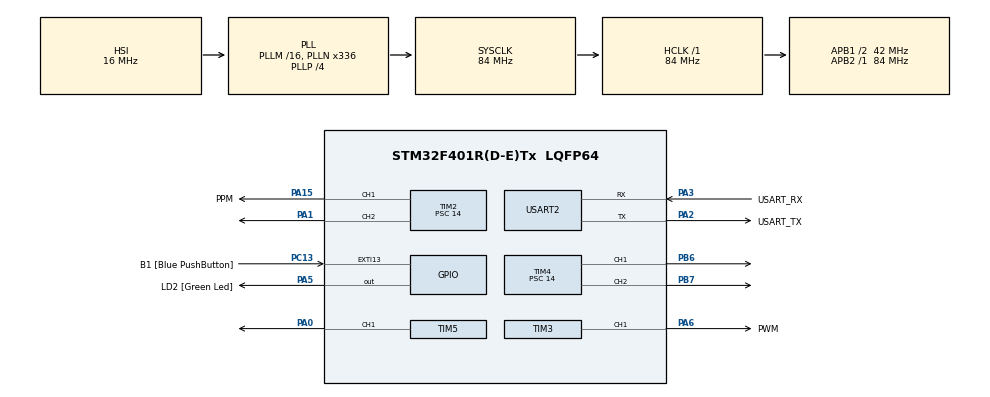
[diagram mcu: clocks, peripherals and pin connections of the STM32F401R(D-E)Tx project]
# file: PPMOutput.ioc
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Mcu.Family=STM32F4
Mcu.Name=STM32F401R(D-E)Tx
Mcu.Package=LQFP64
NVIC.PriorityGroup=NVIC_PRIORITYGROUP_0
PA0-WKUP.Signal=S_TIM5_CH1
PA1.Signal=S_TIM2_CH2
PA13.GPIO_Label=TMS
PA13.Mode=Serial_Wire
PA13.Signal=SYS_JTMS-SWDIO
PA14.GPIO_Label=TCK
PA14.Mode=Serial_Wire
PA14.Signal=SYS_JTCK-SWCLK
PA15.GPIO_Label=PPM
PA15.Signal=S_TIM2_CH1_ETR
PA2.GPIO_Label=USART_TX
PA2.GPIO_Mode=GPIO_MODE_AF_PP
PA2.GPIO_PuPd=GPIO_NOPULL
PA2.GPIO_Speed=GPIO_SPEED_FREQ_LOW
PA2.Mode=Asynchronous
PA2.Signal=USART2_TX
PA3.GPIO_Label=USART_RX
PA3.GPIO_Mode=GPIO_MODE_AF_PP
PA3.GPIO_PuPd=GPIO_NOPULL
PA3.GPIO_Speed=GPIO_SPEED_FREQ_LOW
PA3.Mode=Asynchronous
PA3.Signal=USART2_RX
PA5.GPIO_Label=LD2 [Green Led]
PA5.GPIO_Mode=GPIO_MODE_OUTPUT_PP
PA5.GPIO_PuPd=GPIO_NOPULL
PA5.GPIO_Speed=GPIO_SPEED_FREQ_LOW
PA5.Signal=GPIO_Output
PA6.GPIO_Label=PWM
PA6.Signal=S_TIM3_CH1
PB3.GPIO_Label=SWO
PB3.Signal=SYS_JTDO-SWO
PB6.Signal=S_TIM4_CH1
PB7.Signal=S_TIM4_CH2
PC13-ANTI_TAMP.GPIO_Label=B1 [Blue PushButton]
PC13-ANTI_TAMP.GPIO_ModeDefaultEXTI=GPIO_MODE_IT_FALLING
PC13-ANTI_TAMP.GPIO_PuPd=GPIO_NOPULL
PC13-ANTI_TAMP.Signal=GPXTI13
PC14-OSC32_IN.Mode=LSE-External-Oscillator
PC14-OSC32_IN.Signal=RCC_OSC32_IN
PC15-OSC32_OUT.Mode=LSE-External-Oscillator
PC15-OSC32_OUT.Signal=RCC_OSC32_OUT
PH0\ -\ OSC_IN.Mode=HSE-External-Clock-Source
PH0\ -\ OSC_IN.Signal=RCC_OSC_IN
PH1\ -\ OSC_OUT.Mode=HSE-External-Clock-Source
PH1\ -\ OSC_OUT.Signal=RCC_OSC_OUT
ProjectManager.HeapSize=0x200
ProjectManager.StackSize=0x400
ProjectManager.TargetToolchain=STM32CubeIDE
RCC.48MHZClocksFreq_Value=48000000
RCC.AHBFreq_Value=84000000
RCC.APB1CLKDivider=RCC_HCLK_DIV2
RCC.APB1Freq_Value=42000000
RCC.APB1TimFreq_Value=84000000
RCC.APB2Freq_Value=84000000
RCC.APB2TimFreq_Value=84000000
RCC.CortexFreq_Value=84000000
RCC.HCLKFreq_Value=84000000
RCC.HSE_VALUE=8000000
RCC.HSI_VALUE=16000000
RCC.PLLN=336
RCC.PLLP=RCC_PLLP_DIV4
RCC.PLLQ=7
RCC.SYSCLKFreq_VALUE=84000000
RCC.SYSCLKSource=RCC_SYSCLKSOURCE_PLLCLK
RCC.VCOOutputFreq_Value=336000000
SH.S_TIM2_CH1_ETR.0=TIM2_CH1,PWM Generation1 CH1
SH.S_TIM2_CH2.0=TIM2_CH2,PWM Generation2 CH2
SH.S_TIM3_CH1.0=TIM3_CH1,PWM Generation1 CH1
SH.S_TIM4_CH1.0=TIM4_CH1,PWM Generation1 CH1
SH.S_TIM4_CH2.0=TIM4_CH2,PWM Generation2 CH2
SH.S_TIM5_CH1.0=TIM5_CH1,PWM Generation1 CH1
TIM2.Channel-PWM\ Generation1\ CH1=TIM_CHANNEL_1
TIM2.Channel-PWM\ Generation2\ CH2=TIM_CHANNEL_2
TIM2.Period=64000
TIM2.Prescaler=14
TIM2.Pulse-PWM\ Generation1\ CH1=5000
TIM2.Pulse-PWM\ Generation2\ CH2=6560
TIM3.Channel-PWM\ Generation1\ CH1=TIM_CHANNEL_1
TIM3.CounterMode=TIM_COUNTERMODE_DOWN
TIM3.OCMode_PWM-PWM\ Generation1\ CH1=TIM_OCMODE_PWM2
TIM3.Period=64000
TIM3.Prescaler=14
TIM3.Pulse-PWM\ Generation1\ CH1=6560
TIM4.Channel-PWM\ Generation1\ CH1=TIM_CHANNEL_1
TIM4.Channel-PWM\ Generation2\ CH2=TIM_CHANNEL_2
TIM4.CounterMode=TIM_COUNTERMODE_DOWN
TIM4.Period=64000
TIM4.Prescaler=14
TIM4.Pulse-PWM\ Generation1\ CH1=6560
TIM4.Pulse-PWM\ Generation2\ CH2=3000
TIM5.AutoReloadPreload=TIM_AUTORELOAD_PRELOAD_ENABLE
TIM5.Channel-PWM\ Generation1\ CH1=TIM_CHANNEL_1
TIM5.Period=64000
TIM5.Prescaler=14
TIM5.Pulse-PWM\ Generation1\ CH1=6560
USART2.VirtualMode=VM_ASYNC
board=NUCLEO-F401RE

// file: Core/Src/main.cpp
/* USER CODE BEGIN Header */
/**
  ******************************************************************************
  * @file           : main.c
  * @brief          : Main program body
  ******************************************************************************
  * @attention
  *
  * Copyright (c) 2022 STMicroelectronics.
  * All rights reserved.
  *
  * This software is licensed under terms that can be found in the LICENSE file
  * in the root directory of this software component.
  * If no LICENSE file comes with this software, it is provided AS-IS.
  *
  ******************************************************************************
  */
/* USER CODE END Header */
#include "main.h"
#include <cstdlib>

TIM_HandleTypeDef htim2;
TIM_HandleTypeDef htim3;
TIM_HandleTypeDef htim4;
TIM_HandleTypeDef htim5;

UART_HandleTypeDef huart2;

void SystemClock_Config(void);
static void MX_GPIO_Init(void);
static void MX_USART2_UART_Init(void);
static void MX_TIM2_Init(void);
static void MX_TIM3_Init(void);
static void MX_TIM5_Init(void);
static void MX_TIM4_Init(void);

int main(void)
{

  /* MCU Configuration--------------------------------------------------------*/

  /* Reset of all peripherals, Initializes the Flash interface and the Systick. */
  HAL_Init();

  /* Configure the system clock */
  SystemClock_Config();

  /* Initialize all configured peripherals */
  MX_GPIO_Init();
  MX_USART2_UART_Init();
  MX_TIM2_Init();
  MX_TIM3_Init();
  MX_TIM5_Init();
  MX_TIM4_Init();
  /* USER CODE BEGIN 2 */
  HAL_TIM_Base_Start(&htim2);
 // HAL_TIM_Base_Start(&htim3);
 // HAL_TIM_Base_Start(&htim4);
  HAL_TIM_Base_Start(&htim5);
 // HAL_TIM_PWM_Start(&htim2, TIM_CHANNEL_1);
  HAL_TIM_PWM_Start(&htim2, TIM_CHANNEL_2);
//  HAL_TIM_PWM_Start(&htim3, TIM_CHANNEL_1);
//  HAL_TIM_PWM_Start(&htim4, TIM_CHANNEL_1);
//  HAL_TIM_PWM_Start(&htim4, TIM_CHANNEL_2);
  HAL_TIM_PWM_Start(&htim5, TIM_CHANNEL_1);

// Implementing HAL Delay calls allows us to have more reliable pulses - makes sure the code doesn't "outspeed" the hardware.
// This is like what we did in the bootcamp where you add "HAL_Delay(10)" at the end of the while loop to avoid
// overloading the ADC.

// Working on PPM Output Function Below - to be reworked for eight channels (16 in the future)

typedef struct PPMChannels {
	int32_t pulse_values[17];
	bool pulse_difference;
	int ppm_channels;
} PPMChannels;

void ppm_new_output(PPMChannels *values, uint32_t ccrx_value);

  PPMChannels *values = new PPMChannels(); //Working on the best solution for ppm output (fix later)
  values->ppm_channels = 16;
  values->pulse_difference = false;
  values->pulse_values[0] = 50000; //
  values->pulse_values[1] = 55000; //10k
  values->pulse_values[2] = 50000; //50k
  values->pulse_values[3] = 55000; //5k
  values->pulse_values[4] = 50000; //4k
  values->pulse_values[5] = 55000; //45k
  values->pulse_values[6] = 50000; //12k
  values->pulse_values[7] = 55000;//
  values->pulse_values[8] = 50000;
  values->pulse_values[9] = 55000;
  values->pulse_values[10] = 50000;
  values->pulse_values[11] = 55000;
  values->pulse_values[12] = 50000;
  values->pulse_values[13] = 55000;
  values->pulse_values[14] = 50000;
  values->pulse_values[15] = 55000;
  values->pulse_values[16] = 50000;

  int base_arr = 64000;

  double time_diff = (((base_arr - (values->pulse_values[0] - values->pulse_values[1])) / 5600) - 0.05);
  /* USER CODE END 2 */

  /* Infinite loop */
  /* USER CODE BEGIN WHILE */
  while (1)
  {

  // Set PPM output for 16 channels
  for (int i = 0; i < (values->ppm_channels); i++) {
	if (values->pulse_values[0] > values->pulse_values[1]) {
	  HAL_Delay(time_diff);
	  htim2.Instance->CCR2 = values->pulse_values[i];
      values->pulse_difference = (((values->pulse_values[i] - values->pulse_values[i+1]) > 0) ? (true) : (false));
	} else {
      htim2.Instance->CCR2 = values->pulse_values[i];
	  values->pulse_difference = (((values->pulse_values[i] - values->pulse_values[i+1]) > 0) ? (true) : (false));
	  HAL_Delay(10);
	}

	// Checks the difference between current and coming pulse width(s)
	// And adjusts our ARR on TIM5 accordingly
	if (values->pulse_difference) {
		  htim5.Instance->ARR = (base_arr - (values->pulse_values[i] - values->pulse_values[i+1]));
		  htim5.Instance->CCR1 = 6560;
		  time_diff = ((base_arr - (values->pulse_values[i] - values->pulse_values[i+1])) / 5600) - 0.05;
	} else {
	      htim5.Instance->ARR = (base_arr + (values->pulse_values[i+1] - values->pulse_values[i]));
	      htim5.Instance->CCR1 = 6560;
	      time_diff = ((base_arr + (values->pulse_values[i+1] - values->pulse_values[i])) / 5600) + 0.05;
	}

}

  }

  }

    /* USER CODE END WHILE */

void SystemClock_Config(void)
{
  RCC_OscInitTypeDef RCC_OscInitStruct = {0};
  RCC_ClkInitTypeDef RCC_ClkInitStruct = {0};

  /** Configure the main internal regulator output voltage
  */
  __HAL_RCC_PWR_CLK_ENABLE();
  __HAL_PWR_VOLTAGESCALING_CONFIG(PWR_REGULATOR_VOLTAGE_SCALE2);

  /** Initializes the RCC Oscillators according to the specified parameters
  * in the RCC_OscInitTypeDef structure.
  */
  RCC_OscInitStruct.OscillatorType = RCC_OSCILLATORTYPE_HSI;
  RCC_OscInitStruct.HSIState = RCC_HSI_ON;
  RCC_OscInitStruct.HSICalibrationValue = RCC_HSICALIBRATION_DEFAULT;
  RCC_OscInitStruct.PLL.PLLState = RCC_PLL_ON;
  RCC_OscInitStruct.PLL.PLLSource = RCC_PLLSOURCE_HSI;
  RCC_OscInitStruct.PLL.PLLM = 16;
  RCC_OscInitStruct.PLL.PLLN = 336;
  RCC_OscInitStruct.PLL.PLLP = RCC_PLLP_DIV4;
  RCC_OscInitStruct.PLL.PLLQ = 7;
  if (HAL_RCC_OscConfig(&RCC_OscInitStruct) != HAL_OK)
  {
    Error_Handler();
  }

  /** Initializes the CPU, AHB and APB buses clocks
  */
  RCC_ClkInitStruct.ClockType = RCC_CLOCKTYPE_HCLK|RCC_CLOCKTYPE_SYSCLK
                              |RCC_CLOCKTYPE_PCLK1|RCC_CLOCKTYPE_PCLK2;
  RCC_ClkInitStruct.SYSCLKSource = RCC_SYSCLKSOURCE_PLLCLK;
  RCC_ClkInitStruct.AHBCLKDivider = RCC_SYSCLK_DIV1;
  RCC_ClkInitStruct.APB1CLKDivider = RCC_HCLK_DIV2;
  RCC_ClkInitStruct.APB2CLKDivider = RCC_HCLK_DIV1;

  if (HAL_RCC_ClockConfig(&RCC_ClkInitStruct, FLASH_LATENCY_2) != HAL_OK)
  {
    Error_Handler();
  }
}

static void MX_TIM2_Init(void)
{

  TIM_MasterConfigTypeDef sMasterConfig = {0};
  TIM_OC_InitTypeDef sConfigOC = {0};

  htim2.Instance = TIM2;
  htim2.Init.Prescaler = 14;
  htim2.Init.CounterMode = TIM_COUNTERMODE_UP;
  htim2.Init.Period = 64000;
  htim2.Init.ClockDivision = TIM_CLOCKDIVISION_DIV1;
  htim2.Init.AutoReloadPreload = TIM_AUTORELOAD_PRELOAD_DISABLE;
  if (HAL_TIM_PWM_Init(&htim2) != HAL_OK)
  {
    Error_Handler();
  }
  sMasterConfig.MasterOutputTrigger = TIM_TRGO_RESET;
  sMasterConfig.MasterSlaveMode = TIM_MASTERSLAVEMODE_DISABLE;
  if (HAL_TIMEx_MasterConfigSynchronization(&htim2, &sMasterConfig) != HAL_OK)
  {
    Error_Handler();
  }
  sConfigOC.OCMode = TIM_OCMODE_PWM1;
  sConfigOC.Pulse = 5000;
  sConfigOC.OCPolarity = TIM_OCPOLARITY_HIGH;
  sConfigOC.OCFastMode = TIM_OCFAST_DISABLE;
  if (HAL_TIM_PWM_ConfigChannel(&htim2, &sConfigOC, TIM_CHANNEL_1) != HAL_OK)
  {
    Error_Handler();
  }
  sConfigOC.Pulse = 6560;
  if (HAL_TIM_PWM_ConfigChannel(&htim2, &sConfigOC, TIM_CHANNEL_2) != HAL_OK)
  {
    Error_Handler();
  }
  HAL_TIM_MspPostInit(&htim2);

}

static void MX_TIM3_Init(void)
{

  TIM_MasterConfigTypeDef sMasterConfig = {0};
  TIM_OC_InitTypeDef sConfigOC = {0};

  htim3.Instance = TIM3;
  htim3.Init.Prescaler = 14;
  htim3.Init.CounterMode = TIM_COUNTERMODE_DOWN;
  htim3.Init.Period = 64000;
  htim3.Init.ClockDivision = TIM_CLOCKDIVISION_DIV1;
  htim3.Init.AutoReloadPreload = TIM_AUTORELOAD_PRELOAD_DISABLE;
  if (HAL_TIM_PWM_Init(&htim3) != HAL_OK)
  {
    Error_Handler();
  }
  sMasterConfig.MasterOutputTrigger = TIM_TRGO_RESET;
  sMasterConfig.MasterSlaveMode = TIM_MASTERSLAVEMODE_DISABLE;
  if (HAL_TIMEx_MasterConfigSynchronization(&htim3, &sMasterConfig) != HAL_OK)
  {
    Error_Handler();
  }
  sConfigOC.OCMode = TIM_OCMODE_PWM2;
  sConfigOC.Pulse = 6560;
  sConfigOC.OCPolarity = TIM_OCPOLARITY_HIGH;
  sConfigOC.OCFastMode = TIM_OCFAST_DISABLE;
  if (HAL_TIM_PWM_ConfigChannel(&htim3, &sConfigOC, TIM_CHANNEL_1) != HAL_OK)
  {
    Error_Handler();
  }
  HAL_TIM_MspPostInit(&htim3);

}

static void MX_TIM4_Init(void)
{

  TIM_MasterConfigTypeDef sMasterConfig = {0};
  TIM_OC_InitTypeDef sConfigOC = {0};

  htim4.Instance = TIM4;
  htim4.Init.Prescaler = 14;
  htim4.Init.CounterMode = TIM_COUNTERMODE_DOWN;
  htim4.Init.Period = 64000;
  htim4.Init.ClockDivision = TIM_CLOCKDIVISION_DIV1;
  htim4.Init.AutoReloadPreload = TIM_AUTORELOAD_PRELOAD_DISABLE;
  if (HAL_TIM_PWM_Init(&htim4) != HAL_OK)
  {
    Error_Handler();
  }
  sMasterConfig.MasterOutputTrigger = TIM_TRGO_RESET;
  sMasterConfig.MasterSlaveMode = TIM_MASTERSLAVEMODE_DISABLE;
  if (HAL_TIMEx_MasterConfigSynchronization(&htim4, &sMasterConfig) != HAL_OK)
  {
    Error_Handler();
  }
  sConfigOC.OCMode = TIM_OCMODE_PWM1;
  sConfigOC.Pulse = 6560;
  sConfigOC.OCPolarity = TIM_OCPOLARITY_HIGH;
  sConfigOC.OCFastMode = TIM_OCFAST_DISABLE;
  if (HAL_TIM_PWM_ConfigChannel(&htim4, &sConfigOC, TIM_CHANNEL_1) != HAL_OK)
  {
    Error_Handler();
  }
  sConfigOC.Pulse = 3000;
  if (HAL_TIM_PWM_ConfigChannel(&htim4, &sConfigOC, TIM_CHANNEL_2) != HAL_OK)
  {
    Error_Handler();
  }
  HAL_TIM_MspPostInit(&htim4);

}

static void MX_TIM5_Init(void)
{

  TIM_MasterConfigTypeDef sMasterConfig = {0};
  TIM_OC_InitTypeDef sConfigOC = {0};

  htim5.Instance = TIM5;
  htim5.Init.Prescaler = 14;
  htim5.Init.CounterMode = TIM_COUNTERMODE_UP;
  htim5.Init.Period = 64000;
  htim5.Init.ClockDivision = TIM_CLOCKDIVISION_DIV1;
  htim5.Init.AutoReloadPreload = TIM_AUTORELOAD_PRELOAD_ENABLE;
  if (HAL_TIM_PWM_Init(&htim5) != HAL_OK)
  {
    Error_Handler();
  }
  sMasterConfig.MasterOutputTrigger = TIM_TRGO_RESET;
  sMasterConfig.MasterSlaveMode = TIM_MASTERSLAVEMODE_DISABLE;
  if (HAL_TIMEx_MasterConfigSynchronization(&htim5, &sMasterConfig) != HAL_OK)
  {
    Error_Handler();
  }
  sConfigOC.OCMode = TIM_OCMODE_PWM1;
  sConfigOC.Pulse = 6560;
  sConfigOC.OCPolarity = TIM_OCPOLARITY_HIGH;
  sConfigOC.OCFastMode = TIM_OCFAST_DISABLE;
  if (HAL_TIM_PWM_ConfigChannel(&htim5, &sConfigOC, TIM_CHANNEL_1) != HAL_OK)
  {
    Error_Handler();
  }
  HAL_TIM_MspPostInit(&htim5);

}

static void MX_USART2_UART_Init(void)
{

  huart2.Instance = USART2;
  huart2.Init.BaudRate = 115200;
  huart2.Init.WordLength = UART_WORDLENGTH_8B;
  huart2.Init.StopBits = UART_STOPBITS_1;
  huart2.Init.Parity = UART_PARITY_NONE;
  huart2.Init.Mode = UART_MODE_TX_RX;
  huart2.Init.HwFlowCtl = UART_HWCONTROL_NONE;
  huart2.Init.OverSampling = UART_OVERSAMPLING_16;
  if (HAL_UART_Init(&huart2) != HAL_OK)
  {
    Error_Handler();
  }

}

static void MX_GPIO_Init(void)
{
  GPIO_InitTypeDef GPIO_InitStruct = {0};

  /* GPIO Ports Clock Enable */
  __HAL_RCC_GPIOC_CLK_ENABLE();
  __HAL_RCC_GPIOH_CLK_ENABLE();
  __HAL_RCC_GPIOA_CLK_ENABLE();
  __HAL_RCC_GPIOB_CLK_ENABLE();

  /*Configure GPIO pin Output Level */
  HAL_GPIO_WritePin(LD2_GPIO_Port, LD2_Pin, GPIO_PIN_RESET);

  /*Configure GPIO pin : B1_Pin */
  GPIO_InitStruct.Pin = B1_Pin;
  GPIO_InitStruct.Mode = GPIO_MODE_IT_FALLING;
  GPIO_InitStruct.Pull = GPIO_NOPULL;
  HAL_GPIO_Init(B1_GPIO_Port, &GPIO_InitStruct);

  /*Configure GPIO pin : LD2_Pin */
  GPIO_InitStruct.Pin = LD2_Pin;
  GPIO_InitStruct.Mode = GPIO_MODE_OUTPUT_PP;
  GPIO_InitStruct.Pull = GPIO_NOPULL;
  GPIO_InitStruct.Speed = GPIO_SPEED_FREQ_LOW;
  HAL_GPIO_Init(LD2_GPIO_Port, &GPIO_InitStruct);

}

void Error_Handler(void)
{
  __disable_irq();
  while (1)
  {
  }
}
